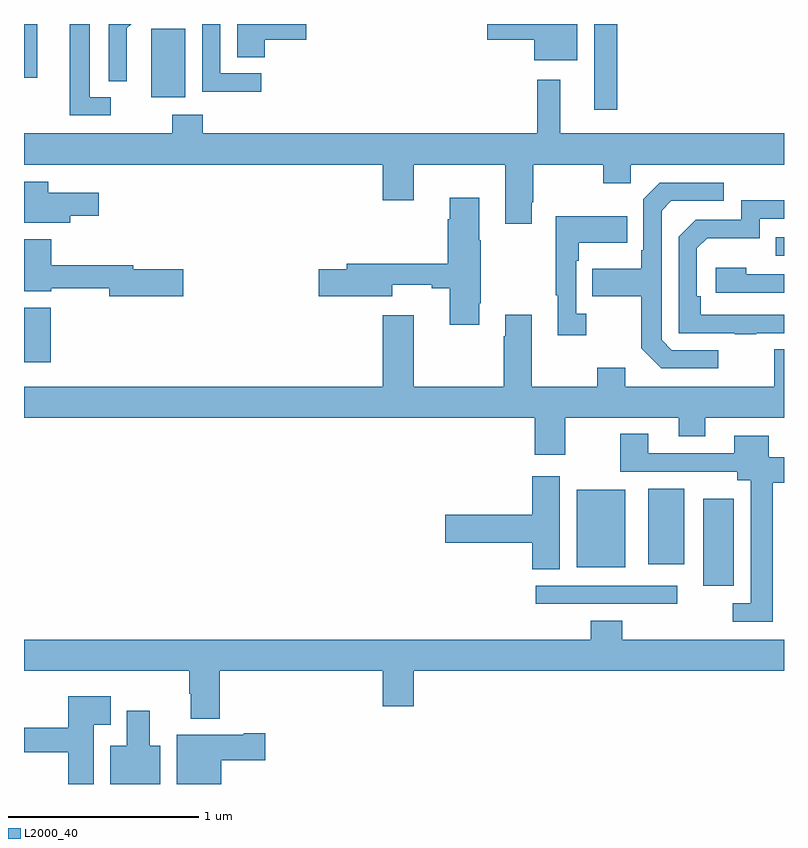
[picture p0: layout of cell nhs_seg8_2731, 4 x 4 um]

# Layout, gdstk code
import gdstk
lib = gdstk.Library(unit=1e-6, precision=1e-09)
def R(c, l, rs):  # rectangles x0, y0, x1, y1
    for r in rs: c.add(gdstk.rectangle(r[:2], r[2:], *l))
def P(c, l, *ps):  # polygons
    for p in ps: c.add(gdstk.Polygon(p, *l))
L2000_40 = (2000, 40)

nhs_seg8_2731 = lib.new_cell('nhs_seg8_2731')
R(nhs_seg8_2731, L2000_40, [(285.693,1120.848,286.438,1120.944), (286.574,1120.943,286.735,1121.401), (285.908,1121.042,286.165,1121.449), (286.286,1121.057,286.474,1121.455), (283,1122.12,283.142,1122.407), (286.957,1122.681,287,1122.777), (286.001,1123.449,286.123,1123.9), (283.67,1123.514,283.849,1123.875), (283,1123.617,283.069,1123.9)])
P(nhs_seg8_2731, L2000_40, [(284.248,1123.641),(284.034,1123.641),(284.034,1123.9),(283.938,1123.9),(283.938,1123.543),(284.248,1123.543)],
  [(283.542,1123.754),(283.541,1123.754),(283.541,1123.877),(283.564,1123.9),(283.446,1123.9),(283.446,1123.6),(283.542,1123.6)],
  [(283.456,1123.515),(283.345,1123.515),(283.345,1123.9),(283.241,1123.9),(283.241,1123.419),(283.456,1123.419)],
  [(285.913,1123.9),(285.438,1123.9),(285.438,1123.816),(285.686,1123.816),(285.686,1123.709),(285.913,1123.709)],
  [(284.267,1123.817),(284.485,1123.817),(284.485,1123.9),(284.123,1123.9),(284.123,1123.726),(284.267,1123.726)],
  [(285.673,1122.961),(285.681,1122.961),(285.681,1123.16),(286.048,1123.16),(286.048,1123.061),(286.194,1123.061),(286.194,1123.16),(287,1123.16),(287,1123.324),(285.823,1123.324),(285.823,1123.606),(285.702,1123.606),(285.702,1123.324),(283.94,1123.324),(283.94,1123.423),(283.78,1123.423),(283.78,1123.324),(283,1123.324),(283,1123.16),(284.888,1123.16),(284.888,1122.972),(285.052,1122.972),(285.052,1123.16),(285.533,1123.16),(285.533,1122.849),(285.673,1122.849)],
  [(283.243,1122.89),(283.393,1122.89),(283.393,1123.012),(283.127,1123.012),(283.127,1123.069),(283,1123.069),(283,1122.854),(283.243,1122.854)],
  [(286.654,1122.183),(286.41,1122.183),(286.356,1122.237),(286.356,1122.918),(286.407,1122.969),(286.684,1122.969),(286.684,1123.065),(286.347,1123.065),(286.26,1122.978),(286.26,1122.709),(286.248,1122.709),(286.248,1122.613),(285.991,1122.613),(285.991,1122.466),(286.248,1122.466),(286.248,1122.193),(286.353,1122.087),(286.654,1122.087)],
  [(285.397,1122.43),(285.405,1122.43),(285.405,1122.761),(285.397,1122.761),(285.397,1122.985),(285.242,1122.985),(285.242,1122.872),(285.23,1122.872),(285.23,1122.637),(284.699,1122.637),(284.699,1122.608),(284.55,1122.608),(284.55,1122.466),(284.938,1122.466),(284.938,1122.527),(285.146,1122.527),(285.146,1122.508),(285.242,1122.508),(285.242,1122.318),(285.397,1122.318)],
  [(286.853,1122.273),(287,1122.273),(287,1122.369),(286.562,1122.369),(286.562,1122.466),(286.542,1122.466),(286.542,1122.72),(286.595,1122.773),(286.872,1122.773),(286.872,1122.876),(287,1122.876),(287,1122.972),(286.776,1122.972),(286.776,1122.87),(286.536,1122.87),(286.446,1122.78),(286.446,1122.273),(286.741,1122.273),(286.741,1122.268),(286.853,1122.268)],
  [(285.958,1122.374),(285.906,1122.374),(285.906,1122.653),(285.919,1122.653),(285.919,1122.749),(286.175,1122.749),(286.175,1122.889),(285.798,1122.889),(285.798,1122.473),(285.809,1122.473),(285.809,1122.261),(285.958,1122.261)],
  [(283.837,1122.608),(283.576,1122.608),(283.576,1122.629),(283.144,1122.629),(283.144,1122.766),(283,1122.766),(283,1122.494),(283.144,1122.494),(283.144,1122.508),(283.448,1122.508),(283.448,1122.466),(283.837,1122.466)],
  [(287,1122.582),(286.802,1122.582),(286.802,1122.616),(286.641,1122.616),(286.641,1122.486),(287,1122.486)],
  [(285.849,1121.828),(286.445,1121.828),(286.445,1121.729),(286.585,1121.729),(286.585,1121.828),(287,1121.828),(287,1122.187),(286.949,1122.187),(286.949,1121.992),(286.165,1121.992),(286.165,1122.091),(286.018,1122.091),(286.018,1121.992),(285.673,1121.992),(285.673,1122.37),(285.533,1122.37),(285.533,1122.257),(285.526,1122.257),(285.526,1121.992),(285.052,1121.992),(285.052,1122.367),(284.888,1122.367),(284.888,1121.992),(283,1121.992),(283,1121.828),(285.689,1121.828),(285.689,1121.634),(285.849,1121.634)],
  [(286.94,1121.486),(287,1121.486),(287,1121.62),(286.921,1121.62),(286.921,1121.734),(286.739,1121.734),(286.739,1121.64),(286.285,1121.64),(286.285,1121.743),(286.138,1121.743),(286.138,1121.544),(286.754,1121.544),(286.754,1121.498),(286.824,1121.498),(286.824,1120.852),(286.731,1120.852),(286.731,1120.755),(286.94,1120.755)],
  [(285.82,1121.521),(285.674,1121.521),(285.674,1121.318),(285.216,1121.318),(285.216,1121.171),(285.674,1121.171),(285.674,1121.029),(285.82,1121.029)],
  [(284.03,1120.496),(284.888,1120.496),(284.888,1120.308),(285.052,1120.308),(285.052,1120.496),(287,1120.496),(287,1120.66),(286.148,1120.66),(286.148,1120.759),(285.983,1120.759),(285.983,1120.66),(283,1120.66),(283,1120.496),(283.87,1120.496),(283.87,1120.376),(283.877,1120.376),(283.877,1120.244),(284.03,1120.244)],
  [(283.366,1120.211),(283.456,1120.211),(283.456,1120.363),(283.232,1120.363),(283.232,1120.195),(283,1120.195),(283,1120.066),(283.232,1120.066),(283.232,1119.9),(283.366,1119.9)],
  [(283.717,1120.102),(283.663,1120.102),(283.663,1120.285),(283.541,1120.285),(283.541,1120.102),(283.454,1120.102),(283.454,1119.9),(283.717,1119.9)],
  [(284.038,1120.025),(284.269,1120.025),(284.269,1120.167),(284.156,1120.167),(284.156,1120.159),(283.805,1120.159),(283.805,1119.9),(284.038,1119.9)])

lib.write_gds('nhs_seg8_2731.gds')
